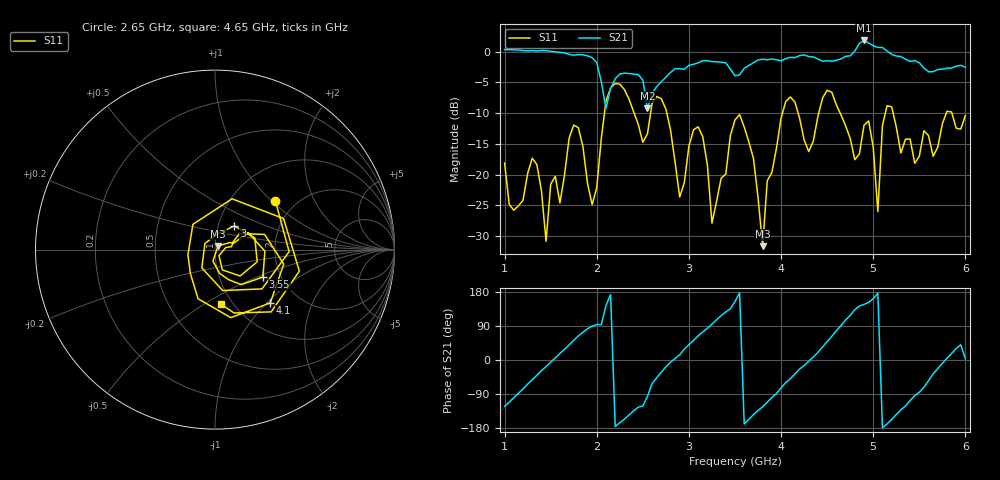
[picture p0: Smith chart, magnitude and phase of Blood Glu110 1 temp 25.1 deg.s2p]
! NanoVNA-App
! Date: 2024-03-20 23:25:55
! Start: 1GHz Stop: 6GHz Points: 101
! S-Parameter data: F S11 S21 S12 S22
# Hz S RI R 50
!	Frequency	S11_Real	S11_Imag	S21_Real	S21_Imag	S12_Real	S12_Imag	S22_Real	S22_Imag
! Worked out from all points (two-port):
!   101 points, 1 GHz to 6 GHz, reference 50 ohm
!   highest |S21| = 1.82 dB at 4.9 GHz (marker M1); lowest = -9.2 dB at 2.55 GHz (marker M2)
!   |S21| within 3 dB of the highest: start of sweep to 1.963 GHz; 4.652 GHz to 5.345 GHz (693.7 MHz wide, 13.9 % of centre)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
!   lowest |S11| = -31.7 dB at 3.8 GHz (marker M3), VSWR 1.05, Z = 51.6 + j2.09 ohm
!   |S11| at or under -10 dB: start of sweep to 2.084 GHz; 2.76 GHz to 4.015 GHz (1.255 GHz wide, 37 % of centre); 5.216 GHz to 5.793 GHz (577.1 MHz wide, 10.5 % of centre)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
!   S12 and S22 are empty: the file has one direction only
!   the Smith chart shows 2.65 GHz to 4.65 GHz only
!   S11 on the Smith chart (normalised r, x): 2.65 GHz: 1.59, +1.05; 3 GHz: 1.19, +0.32; 3.55 GHz: 1.61, -0.55; 4.1 GHz: 1.44, -1.05; 4.65 GHz: 0.88, -0.59
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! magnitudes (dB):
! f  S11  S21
! 1 GHz  -18.1  0.3
! 1.35 GHz  -18.4  0.1
! 1.45 GHz  -30.9  0.2
! 1.85 GHz  -15.5  -0.5
! 1.95 GHz  -24.9  -1.0
! 2.15 GHz  -5.9  -6.0
! 2.55 GHz  -13.4  -9.2
! 2.65 GHz  -7.3  -5.7
! 2.7 GHz  -7.7  -4.9
! 2.9 GHz  -23.7  -2.8
! 3 GHz  -15.4  -2.2
! 3.25 GHz  -27.9  -1.6
! 3.5 GHz  -11.1  -3.9
! 3.55 GHz  -10.2  -3.8
! 3.8 GHz  -31.7  -1.2
! 4.1 GHz  -7.4  -0.9
! 4.35 GHz  -14.6  -0.9
! 4.65 GHz  -10.3  -1.2
! 4.9 GHz  -12.0  1.8
! 5.05 GHz  -26.0  0.7
! 5.2 GHz  -9.0  -0.5
! 6 GHz  -10.4  -2.6
